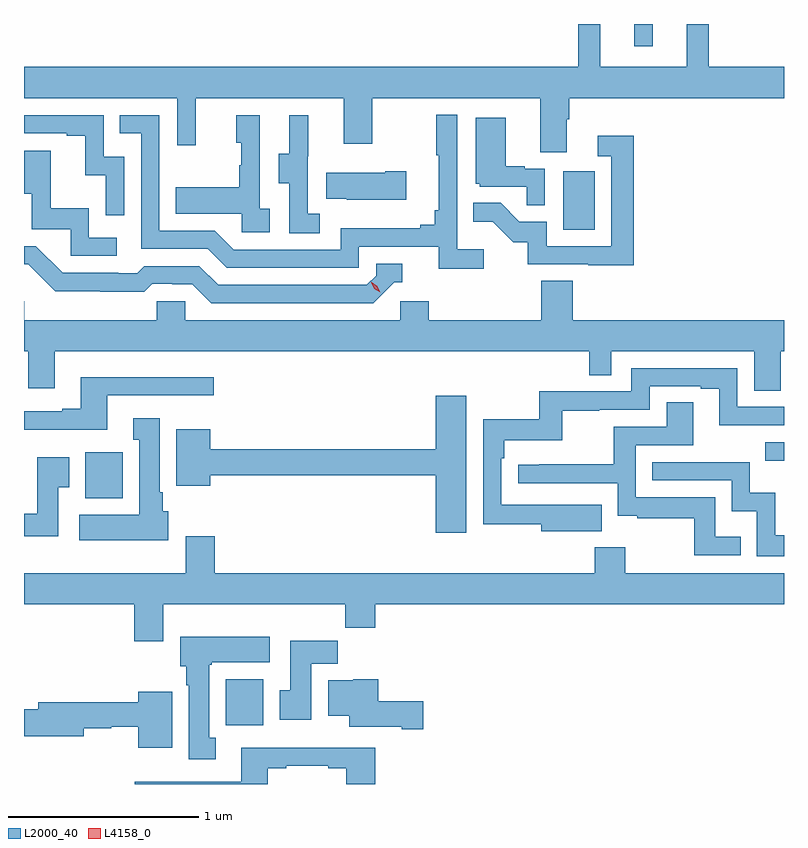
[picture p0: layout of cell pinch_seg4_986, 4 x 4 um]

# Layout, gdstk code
import gdstk
lib = gdstk.Library(unit=1e-6, precision=1e-09)
def R(c, l, rs):  # rectangles x0, y0, x1, y1
    for r in rs: c.add(gdstk.rectangle(r[:2], r[2:], *l))
def P(c, l, *ps):  # polygons
    for p in ps: c.add(gdstk.Polygon(p, *l))
L2000_40 = (2000, 40)
L4158_0 = (4158, 0)

pinch_seg4_986 = lib.new_cell('pinch_seg4_986')
R(pinch_seg4_986, L2000_40, [(817.154,773.54,817.351,773.782), (816.413,774.734,816.61,774.976), (819.993,774.932,820.091,775.029), (818.93,776.148,819.094,776.455), (819.302,777.114,819.399,777.23)])
P(pinch_seg4_986, L2000_40, [(818.947,776.728),(818.96,776.728),(818.96,776.84),(820.091,776.84),(820.091,777.004),(819.695,777.004),(819.695,777.23),(819.578,777.23),(819.578,777.004),(819.125,777.004),(819.125,777.23),(819.007,777.23),(819.007,777.004),(816.091,777.004),(816.091,776.84),(816.897,776.84),(816.897,776.592),(816.995,776.592),(816.995,776.84),(817.775,776.84),(817.775,776.601),(817.923,776.601),(817.923,776.84),(818.807,776.84),(818.807,776.554),(818.947,776.554)],
  [(818.512,776.044),(818.37,776.044),(818.37,776.752),(818.262,776.752),(818.262,776.539),(818.273,776.539),(818.273,776.251),(818.254,776.251),(818.254,776.174),(818.177,776.174),(818.177,776.155),(817.758,776.155),(817.758,776.043),(817.194,776.043),(817.095,776.142),(816.804,776.142),(816.804,776.751),(816.595,776.751),(816.595,776.655),(816.708,776.655),(816.708,776.046),(817.058,776.046),(817.157,775.947),(817.854,775.947),(817.854,776.058),(818.273,776.058),(818.273,775.942),(818.512,775.942)],
  [(816.618,776.532),(816.51,776.532),(816.51,776.751),(816.091,776.751),(816.091,776.655),(816.317,776.655),(816.317,776.643),(816.413,776.643),(816.413,776.435),(816.522,776.435),(816.522,776.223),(816.618,776.223)],
  [(817.384,776.258),(817.332,776.258),(817.332,776.749),(817.208,776.749),(817.208,776.604),(817.234,776.604),(817.234,776.486),(817.224,776.486),(817.224,776.371),(816.889,776.371),(816.889,776.231),(817.236,776.231),(817.236,776.133),(817.384,776.133)],
  [(817.648,776.231),(817.584,776.231),(817.584,776.535),(817.586,776.535),(817.586,776.749),(817.487,776.749),(817.487,776.547),(817.433,776.547),(817.433,776.392),(817.488,776.392),(817.488,776.128),(817.648,776.128)],
  [(818.832,776.469),(818.726,776.469),(818.726,776.482),(818.626,776.482),(818.626,776.737),(818.468,776.737),(818.468,776.388),(818.49,776.388),(818.49,776.373),(818.737,776.373),(818.737,776.275),(818.832,776.275)],
  [(819.299,776.641),(819.111,776.641),(819.111,776.535),(819.183,776.535),(819.183,776.061),(818.841,776.061),(818.841,776.19),(818.697,776.19),(818.599,776.288),(818.455,776.288),(818.455,776.189),(818.559,776.189),(818.666,776.082),(818.743,776.082),(818.743,775.965),(819.061,775.965),(819.061,775.96),(819.299,775.96)],
  [(816.58,776.106),(816.432,776.106),(816.432,776.26),(816.233,776.26),(816.233,776.563),(816.091,776.563),(816.091,776.337),(816.131,776.337),(816.131,776.151),(816.336,776.151),(816.336,776.01),(816.58,776.01)],
  [(818.104,776.454),(817.991,776.454),(817.991,776.446),(817.681,776.446),(817.681,776.309),(817.789,776.309),(817.789,776.306),(818.104,776.306)],
  [(818.04,775.872),(818.083,775.872),(818.083,775.968),(817.944,775.968),(817.944,775.905),(817.896,775.857),(817.113,775.857),(817.014,775.956),(816.725,775.956),(816.686,775.917),(816.587,775.917),(816.587,775.92),(816.294,775.92),(816.153,776.061),(816.091,776.061),(816.091,775.965),(816.114,775.965),(816.256,775.823),(816.492,775.823),(816.492,775.821),(816.725,775.821),(816.767,775.863),(816.87,775.863),(816.87,775.86),(816.977,775.86),(817.076,775.761),(817.929,775.761)],
  [(820.074,775.508),(820.091,775.508),(820.091,775.672),(818.978,775.672),(818.978,775.88),(818.813,775.88),(818.813,775.672),(818.222,775.672),(818.222,775.77),(818.07,775.77),(818.07,775.672),(816.939,775.672),(816.939,775.77),(816.789,775.77),(816.789,775.672),(816.092,775.672),(816.092,775.77),(816.091,775.77),(816.091,775.508),(816.113,775.508),(816.113,775.314),(816.253,775.314),(816.253,775.508),(819.067,775.508),(819.067,775.381),(819.183,775.381),(819.183,775.508),(819.935,775.508),(819.935,775.3),(820.074,775.3)],
  [(819.131,774.7),(818.917,774.7),(818.917,774.699),(818.604,774.699),(818.604,774.944),(818.618,774.944),(818.618,775.04),(818.923,775.04),(818.923,775.195),(819.119,775.195),(819.119,775.2),(819.384,775.2),(819.384,775.323),(819.653,775.323),(819.653,775.311),(819.749,775.311),(819.749,775.118),(819.954,775.118),(819.954,775.119),(820.091,775.119),(820.091,775.215),(819.846,775.215),(819.846,775.419),(819.288,775.419),(819.288,775.296),(818.802,775.296),(818.802,775.15),(818.508,775.15),(818.508,774.598),(818.813,774.598),(818.813,774.56),(819.131,774.56)],
  [(816.529,775.275),(817.09,775.275),(817.09,775.372),(816.389,775.372),(816.389,775.204),(816.293,775.204),(816.293,775.191),(816.091,775.191),(816.091,775.094),(816.529,775.094)],
  [(818.419,775.273),(818.258,775.273),(818.258,774.992),(817.072,774.992),(817.072,775.096),(816.893,775.096),(816.893,774.8),(817.072,774.8),(817.072,774.856),(818.258,774.856),(818.258,774.552),(818.419,774.552)],
  [(819.863,774.532),(819.729,774.532),(819.729,774.738),(819.312,774.738),(819.312,775.014),(819.613,775.014),(819.613,775.238),(819.473,775.238),(819.473,775.11),(819.196,775.11),(819.196,774.914),(818.803,774.914),(818.803,774.909),(818.691,774.909),(818.691,774.813),(819.216,774.813),(819.216,774.641),(819.319,774.641),(819.319,774.63),(819.618,774.63),(819.618,774.435),(819.863,774.435)],
  [(816.85,774.666),(816.82,774.666),(816.82,774.766),(816.805,774.766),(816.805,775.156),(816.665,775.156),(816.665,775.043),(816.698,775.043),(816.698,774.646),(816.381,774.646),(816.381,774.512),(816.85,774.512)],
  [(816.271,774.793),(816.328,774.793),(816.328,774.949),(816.161,774.949),(816.161,774.652),(816.091,774.652),(816.091,774.534),(816.271,774.534)],
  [(820.091,774.538),(820.045,774.538),(820.045,774.763),(819.912,774.763),(819.912,774.924),(819.397,774.924),(819.397,774.828),(819.816,774.828),(819.816,774.665),(819.948,774.665),(819.948,774.429),(820.091,774.429)],
  [(816.823,774.176),(817.783,774.176),(817.783,774.052),(817.94,774.052),(817.94,774.176),(820.091,774.176),(820.091,774.34),(819.255,774.34),(819.255,774.475),(819.095,774.475),(819.095,774.34),(817.094,774.34),(817.094,774.535),(816.941,774.535),(816.941,774.34),(816.091,774.34),(816.091,774.176),(816.671,774.176),(816.671,773.982),(816.823,773.982)],
  [(817.099,773.474),(817.066,773.474),(817.066,773.857),(817.08,773.857),(817.08,773.87),(817.384,773.87),(817.384,774.004),(816.914,774.004),(816.914,773.85),(816.944,773.85),(816.944,773.75),(816.959,773.75),(816.959,773.361),(817.099,773.361)],
  [(817.603,773.864),(817.742,773.864),(817.742,773.983),(817.493,773.983),(817.493,773.724),(817.436,773.724),(817.436,773.568),(817.603,773.568)],
  [(818.191,773.666),(817.955,773.666),(817.955,773.782),(817.824,773.782),(817.824,773.776),(817.691,773.776),(817.691,773.588),(817.802,773.588),(817.802,773.531),(818.078,773.531),(818.078,773.519),(818.191,773.519)],
  [(816.871,773.716),(816.692,773.716),(816.692,773.66),(816.167,773.66),(816.167,773.624),(816.091,773.624),(816.091,773.482),(816.406,773.482),(816.406,773.524),(816.549,773.524),(816.549,773.532),(816.692,773.532),(816.692,773.42),(816.871,773.42)],
  [(817.375,773.313),(817.471,773.313),(817.471,773.325),(817.691,773.325),(817.691,773.313),(817.787,773.313),(817.787,773.23),(817.94,773.23),(817.94,773.422),(817.235,773.422),(817.235,773.241),(816.675,773.241),(816.675,773.23),(817.375,773.23)])
P(pinch_seg4_986, L4158_0, [(817.965,775.817),(817.935,775.837),(817.919,775.87),(817.919,775.87),(817.92,775.87),(817.95,775.85),(817.965,775.817),(817.965,775.817)])

lib.write_gds('pinch_seg4_986.gds')
